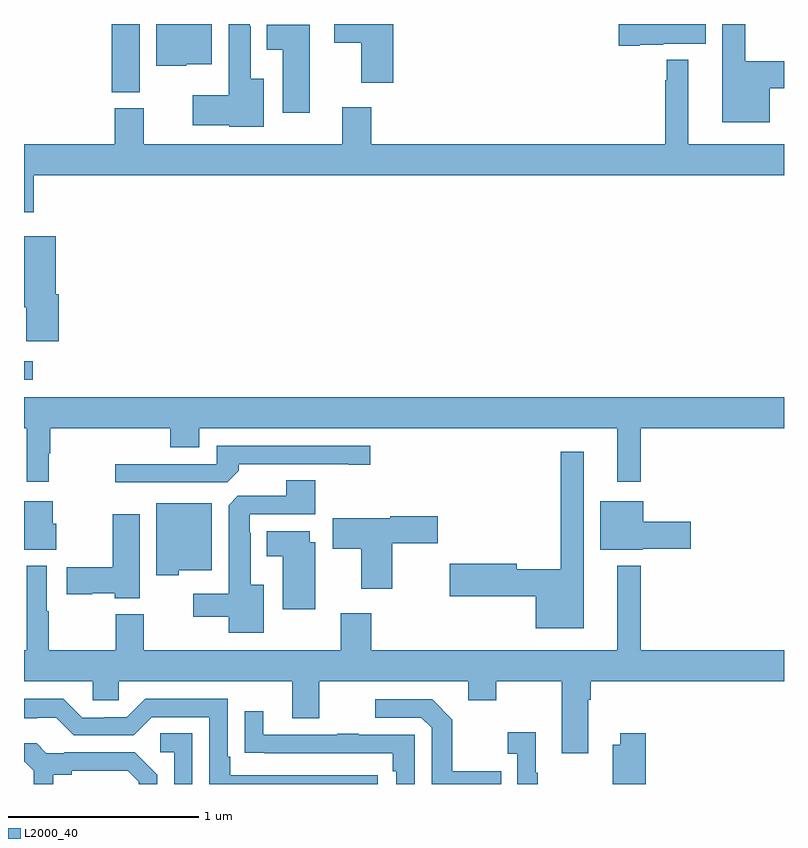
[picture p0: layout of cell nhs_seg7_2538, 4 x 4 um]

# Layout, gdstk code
import gdstk
lib = gdstk.Library(unit=1e-6, precision=1e-09)
def R(c, l, rs):  # rectangles x0, y0, x1, y1
    for r in rs: c.add(gdstk.rectangle(r[:2], r[2:], *l))
def P(c, l, *ps):  # polygons
    for p in ps: c.add(gdstk.Polygon(p, *l))
L2000_40 = (2000, 40)

nhs_seg7_2538 = lib.new_cell('nhs_seg7_2538')
R(nhs_seg7_2538, L2000_40, [(275,1078.128,275.047,1078.224), (275.462,1079.641,275.608,1080)])
P(nhs_seg7_2538, L2000_40, [(276.944,1080),(276.632,1080),(276.632,1079.902),(276.776,1079.902),(276.776,1079.691),(276.944,1079.691)],
  [(275.853,1079.789),(275.989,1079.789),(275.989,1080),(275.696,1080),(275.696,1079.78),(275.853,1079.78)],
  [(278.242,1079.891),(278.364,1079.891),(278.364,1079.897),(278.587,1079.897),(278.587,1080),(278.13,1080),(278.13,1079.885),(278.242,1079.885)],
  [(276.262,1079.713),(276.193,1079.713),(276.193,1079.987),(276.189,1079.987),(276.189,1080),(276.077,1080),(276.077,1079.626),(275.889,1079.626),(275.889,1079.468),(276.081,1079.468),(276.081,1079.459),(276.262,1079.459)],
  [(278.926,1079.662),(279,1079.662),(279,1079.804),(278.797,1079.804),(278.797,1080),(278.675,1080),(278.675,1079.483),(278.926,1079.483)],
  [(276.505,1079.995),(276.278,1079.995),(276.278,1079.864),(276.362,1079.864),(276.362,1079.532),(276.505,1079.532)],
  [(275.051,1079.204),(279,1079.204),(279,1079.368),(278.497,1079.368),(278.497,1079.812),(278.383,1079.812),(278.383,1079.705),(278.376,1079.705),(278.376,1079.368),(276.827,1079.368),(276.827,1079.563),(276.674,1079.563),(276.674,1079.368),(275.629,1079.368),(275.629,1079.556),(275.477,1079.556),(275.477,1079.368),(275,1079.368),(275,1079.01),(275.051,1079.01)],
  [(275.183,1078.577),(275.168,1078.577),(275.168,1078.882),(275,1078.882),(275,1078.508),(275.012,1078.508),(275.012,1078.329),(275.183,1078.329)],
  [(275,1077.872),(275.015,1077.872),(275.015,1077.591),(275.129,1077.591),(275.129,1077.74),(275.137,1077.74),(275.137,1077.872),(275.771,1077.872),(275.771,1077.773),(275.923,1077.773),(275.923,1077.872),(278.123,1077.872),(278.123,1077.591),(278.245,1077.591),(278.245,1077.872),(279,1077.872),(279,1078.036),(275,1078.036)],
  [(276.131,1077.65),(276.131,1077.684),(276.71,1077.684),(276.71,1077.679),(276.823,1077.679),(276.823,1077.78),(276.015,1077.78),(276.015,1077.684),(275.481,1077.684),(275.481,1077.588),(276.069,1077.588)],
  [(277.945,1077.748),(277.824,1077.748),(277.824,1077.13),(277.594,1077.13),(277.594,1077.158),(277.242,1077.158),(277.242,1076.987),(277.694,1076.987),(277.694,1076.819),(277.945,1076.819)],
  [(276.262,1077.049),(276.193,1077.049),(276.193,1077.323),(276.189,1077.323),(276.189,1077.42),(276.533,1077.42),(276.533,1077.599),(276.38,1077.599),(276.38,1077.516),(276.126,1077.516),(276.077,1077.467),(276.077,1077.001),(275.892,1077.001),(275.892,1076.879),(276.077,1076.879),(276.077,1076.795),(276.262,1076.795)],
  [(278.256,1077.239),(278.509,1077.239),(278.509,1077.381),(278.26,1077.381),(278.26,1077.487),(278.033,1077.487),(278.033,1077.233),(278.256,1077.233)],
  [(275.17,1077.369),(275.152,1077.369),(275.152,1077.487),(275,1077.487),(275,1077.233),(275.17,1077.233)],
  [(275.814,1077.125),(275.989,1077.125),(275.989,1077.478),(275.696,1077.478),(275.696,1077.098),(275.814,1077.098)],
  [(275.608,1077.421),(275.467,1077.421),(275.467,1077.14),(275.226,1077.14),(275.226,1076.998),(275.358,1076.998),(275.358,1077.005),(275.478,1077.005),(275.478,1076.978),(275.608,1076.978)],
  [(276.939,1077.266),(277.177,1077.266),(277.177,1077.408),(276.927,1077.408),(276.927,1077.4),(276.624,1077.4),(276.624,1077.238),(276.776,1077.238),(276.776,1077.027),(276.939,1077.027)],
  [(276.532,1077.273),(276.505,1077.273),(276.505,1077.331),(276.278,1077.331),(276.278,1077.2),(276.362,1077.2),(276.362,1076.921),(276.532,1076.921)],
  [(277.969,1076.444),(277.982,1076.444),(277.982,1076.54),(279,1076.54),(279,1076.704),(278.245,1076.704),(278.245,1077.148),(278.123,1077.148),(278.123,1076.704),(276.827,1076.704),(276.827,1076.899),(276.667,1076.899),(276.667,1076.704),(275.629,1076.704),(275.629,1076.893),(275.482,1076.893),(275.482,1076.704),(275.129,1076.704),(275.129,1076.909),(275.119,1076.909),(275.119,1077.148),(275.015,1077.148),(275.015,1076.704),(275,1076.704),(275,1076.54),(275.361,1076.54),(275.361,1076.442),(275.499,1076.442),(275.499,1076.54),(276.413,1076.54),(276.413,1076.346),(276.553,1076.346),(276.553,1076.54),(277.337,1076.54),(277.337,1076.441),(277.485,1076.441),(277.485,1076.54),(277.829,1076.54),(277.829,1076.163),(277.969,1076.163)],
  [(276.862,1076.046),(276.085,1076.046),(276.085,1076.143),(276.072,1076.143),(276.072,1076.448),(275.637,1076.448),(275.541,1076.352),(275.423,1076.352),(275.423,1076.349),(275.307,1076.349),(275.207,1076.449),(275,1076.449),(275,1076.345),(275.069,1076.345),(275.069,1076.349),(275.169,1076.349),(275.262,1076.256),(275.577,1076.256),(275.673,1076.352),(275.976,1076.352),(275.976,1076),(276.862,1076)],
  [(277.511,1076.067),(277.255,1076.067),(277.255,1076.339),(277.149,1076.445),(276.849,1076.445),(276.849,1076.349),(277.092,1076.349),(277.146,1076.295),(277.146,1076),(277.511,1076)],
  [(277.056,1076.259),(276.761,1076.259),(276.761,1076.264),(276.649,1076.264),(276.649,1076.259),(276.259,1076.259),(276.259,1076.383),(276.163,1076.383),(276.163,1076.164),(276.265,1076.164),(276.265,1076.163),(276.94,1076.163),(276.94,1076.066),(276.96,1076.066),(276.96,1076),(277.056,1076)],
  [(277.705,1076.059),(277.693,1076.059),(277.693,1076.272),(277.545,1076.272),(277.545,1076.159),(277.596,1076.159),(277.596,1076),(277.705,1076)],
  [(275.886,1076.267),(275.718,1076.267),(275.718,1076.166),(275.79,1076.166),(275.79,1076),(275.886,1076)],
  [(278.273,1076.266),(278.138,1076.266),(278.138,1076.206),(278.098,1076.206),(278.098,1076),(278.273,1076)],
  [(275.155,1076.048),(275.251,1076.048),(275.251,1076.07),(275.546,1076.07),(275.603,1076.013),(275.603,1076),(275.7,1076),(275.7,1076.05),(275.584,1076.166),(275.212,1076.166),(275.212,1076.163),(275.118,1076.163),(275.066,1076.215),(275,1076.215),(275,1076.118),(275.004,1076.118),(275.051,1076.071),(275.051,1076),(275.155,1076)])

lib.write_gds('nhs_seg7_2538.gds')
